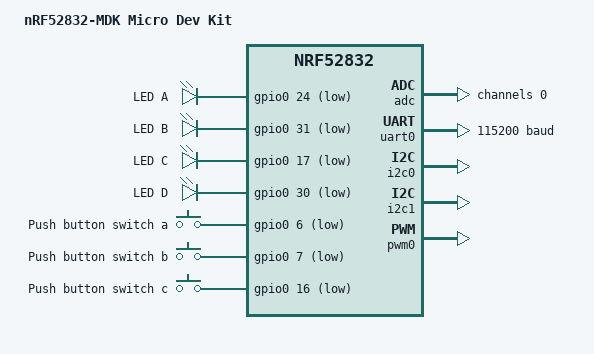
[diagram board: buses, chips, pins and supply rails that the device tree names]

/dts-v1/;
#include <nordic/nrf52832_qfaa.dtsi>
#include "dynastream_nrf52832-pinctrl.dtsi"
#include <zephyr/dt-bindings/input/input-event-codes.h>

/ {
	model = "nRF52832-MDK Micro Dev Kit";
	compatible = "nrf52832-mdk";

	chosen {
		zephyr,console = &uart0;
		zephyr,shell-uart = &uart0;
		zephyr,uart-mcumgr = &uart0;
		zephyr,bt-mon-uart = &uart0;
		zephyr,bt-c2h-uart = &uart0;
		zephyr,sram = &sram0;
		zephyr,flash = &flash0;
		zephyr,code-partition = &slot0_partition;
	};

	leds {
		compatible = "gpio-leds";

		led_a: led_0 {
			gpios = <&gpio0 24 GPIO_ACTIVE_LOW>;
			label = "LED A";
		};

		led_b: led_1 {
			gpios = <&gpio0 31 GPIO_ACTIVE_LOW>;
			label = "LED B";
		};

		led_c: led_2 {
			gpios = <&gpio0 17 GPIO_ACTIVE_LOW>;
			label = "LED C";
		};

		led_d: led_3 {
			gpios = <&gpio0 30 GPIO_ACTIVE_LOW>;
			label = "LED D";
		};
	};

	buttons {
		compatible = "gpio-keys";

		button_a: button_0 {
			gpios = <&gpio0 6 (GPIO_PULL_UP | GPIO_ACTIVE_LOW)>;
			label = "Push button switch a";
			zephyr,code = <INPUT_KEY_0>;
		};

		button_b: button_1 {
			gpios = <&gpio0 7 (GPIO_PULL_UP | GPIO_ACTIVE_LOW)>;
			label = "Push button switch b";
			zephyr,code = <INPUT_KEY_1>;
		};

		button_c: button_2 {
			gpios = <&gpio0 16 (GPIO_PULL_UP | GPIO_ACTIVE_LOW)>;
			label = "Push button switch c";
			zephyr,code = <INPUT_KEY_2>;
		};
	};
};

&reg {
	regulator-initial-mode = <NRF5X_REG_MODE_DCDC>;
};

&uicr {
	gpio-as-nreset;
};

&gpiote {
	status = "okay";
};

&gpio0 {
	status = "okay";
};

&adc {
	#address-cells = <1>;
	#size-cells = <0>;
	status = "okay";
	channel@0 {
		reg = <0>;
		zephyr,gain = "ADC_GAIN_1_6";
		zephyr,reference = "ADC_REF_INTERNAL";
		zephyr,acquisition-time = <ADC_ACQ_TIME_DEFAULT>;
		zephyr,input-positive = <NRF_SAADC_AIN1>; /* P0.03 */
		zephyr,resolution = <12>;
	};
};

&uart0 {
	status = "okay";
	compatible = "nordic,nrf-uart";
	current-speed = <115200>;
	pinctrl-0 = <&uart0_default>;
	pinctrl-names = "default";
};

&i2c0 {
	compatible = "nordic,nrf-twi";
	status = "okay";
	pinctrl-0 = <&i2c0_default>;
	pinctrl-1 = <&i2c0_sleep>;
	pinctrl-names = "default", "sleep";
};

&i2c1 {
	compatible = "nordic,nrf-twi";
	status = "okay";
	pinctrl-0 = <&i2c1_default>;
	pinctrl-1 = <&i2c1_sleep>;
	pinctrl-names = "default", "sleep";
};

&pwm0 {
	status = "okay";
	pinctrl-0 = <&pwm0_default>;
	pinctrl-1 = <&pwm0_sleep>;
	pinctrl-names = "default", "sleep";
};

&flash0 {
	partitions {
		compatible = "fixed-partitions";
		#address-cells = <1>;
		#size-cells = <1>;

		slot0_partition: partition@0 {
			label = "image-0";
			reg = <0x00000000 0x7a000>;   /* 488 KB */
		};

		storage_partition: partition@7a000 {
			label = "storage";
			reg = <0x0007a000 0x00006000>;   /* 24 KB */
		};
	};
};

